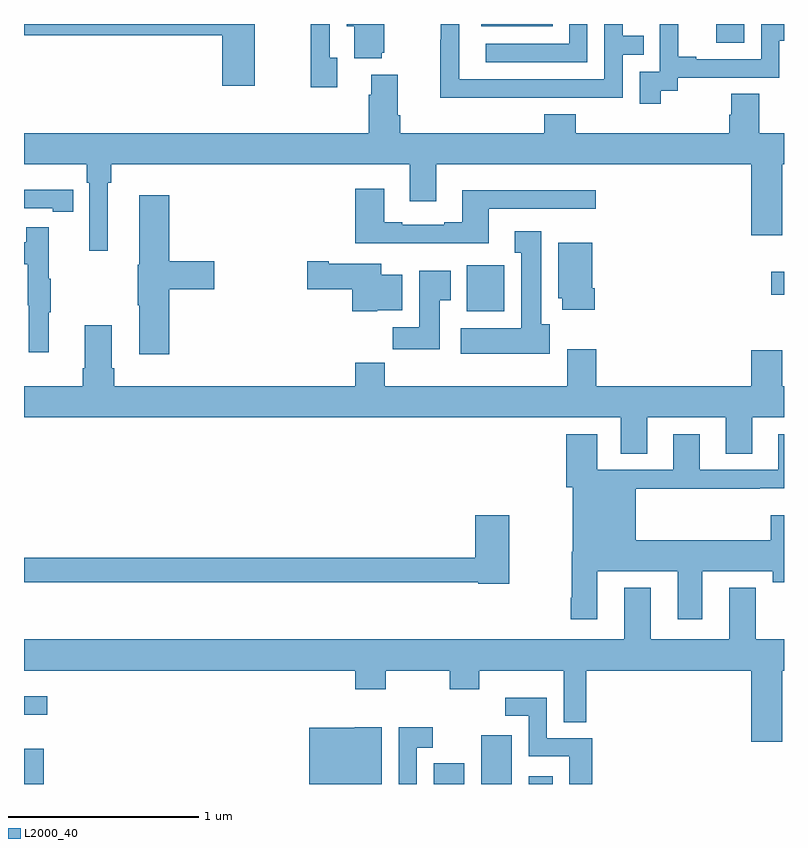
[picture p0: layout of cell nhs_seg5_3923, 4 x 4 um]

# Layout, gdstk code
import gdstk
lib = gdstk.Library(unit=1e-6, precision=1e-09)
def R(c, l, rs):  # rectangles x0, y0, x1, y1
    for r in rs: c.add(gdstk.rectangle(r[:2], r[2:], *l))
def P(c, l, *ps):  # polygons
    for p in ps: c.add(gdstk.Polygon(p, *l))
L2000_40 = (2000, 40)

nhs_seg5_3923 = lib.new_cell('nhs_seg5_3923')
R(nhs_seg5_3923, L2000_40, [(341,886.799,341.104,886.984), (343.157,886.799,343.318,886.908), (343.406,886.799,343.567,887.056), (343.656,886.799,343.783,886.84), (341,887.163,341.122,887.26), (343.331,889.286,343.528,889.528), (344.934,889.373,345,889.495), (344.643,890.7,344.79,890.799), (343.406,890.786,343.784,890.799)])
P(nhs_seg5_3923, L2000_40, [(342.884,890.649),(342.895,890.649),(342.895,890.799),(342.698,890.799),(342.698,890.786),(342.737,890.786),(342.737,890.618),(342.884,890.618)],
  [(342.649,890.622),(342.609,890.622),(342.609,890.799),(342.508,890.799),(342.508,890.466),(342.649,890.466)],
  [(344.35,890.449),(344.442,890.449),(344.442,890.517),(344.976,890.517),(344.976,890.712),(345,890.712),(345,890.799),(344.88,890.799),(344.88,890.613),(344.539,890.613),(344.539,890.626),(344.444,890.626),(344.444,890.799),(344.345,890.799),(344.345,890.777),(344.346,890.777),(344.346,890.547),(344.241,890.547),(344.241,890.379),(344.35,890.379)],
  [(342.214,890.799),(341,890.799),(341,890.74),(342.044,890.74),(342.044,890.475),(342.214,890.475)],
  [(343.655,890.412),(344.151,890.412),(344.151,890.637),(344.261,890.637),(344.261,890.738),(344.151,890.738),(344.151,890.799),(344.055,890.799),(344.055,890.508),(343.29,890.508),(343.29,890.799),(343.194,890.799),(343.194,890.717),(343.192,890.717),(343.192,890.411),(343.655,890.411)],
  [(343.965,890.799),(343.869,890.799),(343.869,890.694),(343.431,890.694),(343.431,890.598),(343.965,890.598)],
  [(341.44,889.964),(341.459,889.964),(341.459,890.06),(343.031,890.06),(343.031,889.866),(343.171,889.866),(343.171,890.06),(344.828,890.06),(344.828,889.686),(344.992,889.686),(344.992,890.06),(345,890.06),(345,890.224),(344.871,890.224),(344.871,890.432),(344.723,890.432),(344.723,890.322),(344.711,890.322),(344.711,890.224),(343.904,890.224),(343.904,890.323),(343.739,890.323),(343.739,890.224),(342.98,890.224),(342.98,890.32),(342.967,890.32),(342.967,890.533),(342.827,890.533),(342.827,890.426),(342.815,890.426),(342.815,890.224),(341,890.224),(341,890.06),(341.33,890.06),(341.33,889.964),(341.343,889.964),(341.343,889.605),(341.44,889.605)],
  [(343.447,889.827),(344.008,889.827),(344.008,889.924),(343.307,889.924),(343.307,889.756),(343.211,889.756),(343.211,889.743),(342.991,889.743),(342.991,889.756),(342.895,889.756),(342.895,889.933),(342.743,889.933),(342.743,889.646),(343.447,889.646)],
  [(341.258,889.926),(341.15,889.926),(341.15,889.927),(341,889.927),(341,889.83),(341.15,889.83),(341.15,889.81),(341.258,889.81)],
  [(341.765,889.403),(342.001,889.403),(342.001,889.55),(341.765,889.55),(341.765,889.897),(341.606,889.897),(341.606,889.533),(341.599,889.533),(341.599,889.319),(341.606,889.319),(341.606,889.062),(341.765,889.062)],
  [(341.129,889.283),(341.14,889.283),(341.14,889.457),(341.129,889.457),(341.129,889.729),(341.011,889.729),(341.011,889.65),(341,889.65),(341,889.534),(341.019,889.534),(341.019,889.32),(341.026,889.32),(341.026,889.071),(341.129,889.071)],
  [(343.768,889.218),(343.723,889.218),(343.723,889.708),(343.583,889.708),(343.583,889.595),(343.616,889.595),(343.616,889.198),(343.299,889.198),(343.299,889.064),(343.768,889.064)],
  [(344.003,889.408),(343.99,889.408),(343.99,889.648),(343.811,889.648),(343.811,889.356),(343.832,889.356),(343.832,889.296),(344.003,889.296)],
  [(342.858,889.292),(342.991,889.292),(342.991,889.48),(342.88,889.48),(342.88,889.537),(342.604,889.537),(342.604,889.55),(342.492,889.55),(342.492,889.403),(342.728,889.403),(342.728,889.286),(342.858,889.286)],
  [(343.189,889.345),(343.246,889.345),(343.246,889.501),(343.079,889.501),(343.079,889.204),(342.94,889.204),(342.94,889.086),(343.189,889.086)],
  [(344.281,888.728),(344.693,888.728),(344.693,888.538),(344.833,888.538),(344.833,888.728),(345,888.728),(345,888.892),(344.992,888.892),(344.992,889.081),(344.828,889.081),(344.828,888.892),(344.012,888.892),(344.012,889.087),(343.859,889.087),(343.859,888.892),(342.899,888.892),(342.899,889.016),(342.743,889.016),(342.743,888.892),(341.474,888.892),(341.474,888.988),(341.461,888.988),(341.461,889.213),(341.321,889.213),(341.321,888.988),(341.309,888.988),(341.309,888.892),(341,888.892),(341,888.728),(344.141,888.728),(344.141,888.538),(344.281,888.538)],
  [(344.017,887.918),(344.441,887.918),(344.441,887.667),(344.569,887.667),(344.569,887.918),(344.942,887.918),(344.942,887.861),(345,887.861),(345,888.214),(344.93,888.214),(344.93,888.082),(344.221,888.082),(344.221,888.352),(344.873,888.352),(344.873,888.356),(345,888.356),(345,888.64),(344.969,888.64),(344.969,888.453),(344.557,888.453),(344.557,888.64),(344.417,888.64),(344.417,888.453),(344.017,888.453),(344.017,888.64),(343.853,888.64),(343.853,888.36),(343.889,888.36),(343.889,888.022),(343.882,888.022),(343.882,887.779),(343.877,887.779),(343.877,887.667),(344.017,887.667)],
  [(343.554,888.214),(343.376,888.214),(343.376,887.99),(341,887.99),(341,887.862),(343.392,887.862),(343.392,887.854),(343.554,887.854)],
  [(344.851,887.833),(344.711,887.833),(344.711,887.56),(344.299,887.56),(344.299,887.833),(344.159,887.833),(344.159,887.56),(341,887.56),(341,887.396),(342.743,887.396),(342.743,887.297),(342.903,887.297),(342.903,887.396),(343.24,887.396),(343.24,887.297),(343.395,887.297),(343.395,887.396),(343.841,887.396),(343.841,887.125),(343.96,887.125),(343.96,887.396),(344.828,887.396),(344.828,887.022),(344.992,887.022),(344.992,887.396),(345,887.396),(345,887.56),(344.851,887.56)],
  [(343.99,887.04),(343.752,887.04),(343.752,887.254),(343.533,887.254),(343.533,887.157),(343.656,887.157),(343.656,886.944),(343.871,886.944),(343.871,886.799),(343.99,886.799)],
  [(343.068,886.989),(343.15,886.989),(343.15,887.098),(342.972,887.098),(342.972,886.799),(343.068,886.799)],
  [(342.883,887.098),(342.741,887.098),(342.741,887.095),(342.5,887.095),(342.5,886.799),(342.883,886.799)])

lib.write_gds('nhs_seg5_3923.gds')
